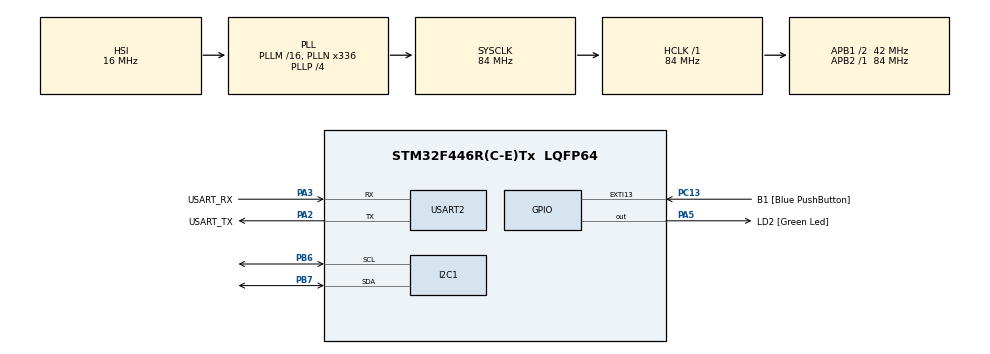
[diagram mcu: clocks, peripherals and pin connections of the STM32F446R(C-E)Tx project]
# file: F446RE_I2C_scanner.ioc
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Mcu.Family=STM32F4
Mcu.Name=STM32F446R(C-E)Tx
Mcu.Package=LQFP64
NVIC.PriorityGroup=NVIC_PRIORITYGROUP_0
PA13.GPIO_Label=TMS
PA13.Mode=Serial_Wire
PA13.Signal=SYS_JTMS-SWDIO
PA14.GPIO_Label=TCK
PA14.Mode=Serial_Wire
PA14.Signal=SYS_JTCK-SWCLK
PA2.GPIO_Label=USART_TX
PA2.Mode=Asynchronous
PA2.Signal=USART2_TX
PA3.GPIO_Label=USART_RX
PA3.Mode=Asynchronous
PA3.Signal=USART2_RX
PA5.GPIO_Label=LD2 [Green Led]
PA5.Signal=GPIO_Output
PB3.GPIO_Label=SWO
PB3.Signal=SYS_JTDO-SWO
PB6.Mode=I2C
PB6.Signal=I2C1_SCL
PB7.Mode=I2C
PB7.Signal=I2C1_SDA
PC13.GPIO_Label=B1 [Blue PushButton]
PC13.GPIO_ModeDefaultEXTI=GPIO_MODE_IT_FALLING
PC13.Signal=GPXTI13
PC14-OSC32_IN.Mode=LSE-External-Oscillator
PC14-OSC32_IN.Signal=RCC_OSC32_IN
PC15-OSC32_OUT.Mode=LSE-External-Oscillator
PC15-OSC32_OUT.Signal=RCC_OSC32_OUT
PH0-OSC_IN.Mode=HSE-External-Oscillator
PH0-OSC_IN.Signal=RCC_OSC_IN
PH1-OSC_OUT.Mode=HSE-External-Oscillator
PH1-OSC_OUT.Signal=RCC_OSC_OUT
ProjectManager.HeapSize=0x200
ProjectManager.StackSize=0x400
ProjectManager.TargetToolchain=STM32CubeIDE
RCC.48MHZClocksFreq_Value=84000000
RCC.AHBFreq_Value=84000000
RCC.APB1CLKDivider=RCC_HCLK_DIV2
RCC.APB1Freq_Value=42000000
RCC.APB1TimFreq_Value=84000000
RCC.APB2Freq_Value=84000000
RCC.APB2TimFreq_Value=84000000
RCC.CortexFreq_Value=84000000
RCC.FLatency-AdvancedSettings=FLASH_LATENCY_2
RCC.HCLKFreq_Value=84000000
RCC.HSE_VALUE=8000000
RCC.HSI_VALUE=16000000
RCC.PLLN=336
RCC.PLLP=RCC_PLLP_DIV4
RCC.SYSCLKFreq_VALUE=84000000
RCC.SYSCLKSource=RCC_SYSCLKSOURCE_PLLCLK
RCC.USBFreq_Value=168000000
RCC.VCOOutputFreq_Value=336000000
USART2.VirtualMode=VM_ASYNC
board=NUCLEO-F446RE

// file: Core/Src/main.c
/* USER CODE BEGIN Header */
/**
 ******************************************************************************
 * @file           : main.c
 * @brief          : Main program body
 ******************************************************************************
 * @attention
 *
 * <h2><center>&copy; Copyright (c) 2021 STMicroelectronics.
 * All rights reserved.</center></h2>
 *
 * This software component is licensed by ST under BSD 3-Clause license,
 * the "License"; You may not use this file except in compliance with the
 * License. You may obtain a copy of the License at:
 *                        opensource.org/licenses/BSD-3-Clause
 *
 ******************************************************************************
 */
/* USER CODE END Header */
#include "main.h"

/* USER CODE BEGIN Includes */
#include <stdio.h>
#include <string.h>
#include "bmp280/bmp280.h"

/* USER CODE END Includes */

I2C_HandleTypeDef hi2c1;

UART_HandleTypeDef huart2;

/* USER CODE BEGIN PV */
BMP280_HandleTypedef bmp280;

float pressure, temperature, humidity;
bool bme280p;
bool bmp280_module_present;
uint16_t size;
uint8_t Data[256];

char crlf[3];

/* USER CODE END PV */

void SystemClock_Config(void);
static void MX_GPIO_Init(void);
static void MX_USART2_UART_Init(void);
static void MX_I2C1_Init(void);
/* USER CODE BEGIN PFP */

static void I2C_Scanner(void);
static void BMP280_Init(void);
static void BMP280_Read_and_Print(void);

/* USER CODE END PFP */

int main(void)
{

	/* MCU Configuration--------------------------------------------------------*/

	/* Reset of all peripherals, Initializes the Flash interface and the Systick. */
	HAL_Init();

	/* Configure the system clock */
	SystemClock_Config();

	/* Initialize all configured peripherals */
	MX_GPIO_Init();
	MX_USART2_UART_Init();
	MX_I2C1_Init();

	/* Infinite loop */
	/* USER CODE BEGIN WHILE */
	char Message_buf[14];
	sprintf(Message_buf, ">Scan started");
	sprintf(crlf, "\r\n");
	HAL_UART_Transmit(&huart2, (uint8_t*)crlf, sizeof(crlf), HAL_MAX_DELAY);
	HAL_UART_Transmit(&huart2, (uint8_t*)crlf, sizeof(crlf), HAL_MAX_DELAY);
	HAL_UART_Transmit(&huart2, (uint8_t*)Message_buf, sizeof(Message_buf), HAL_MAX_DELAY);
	HAL_UART_Transmit(&huart2, (uint8_t*)crlf, sizeof(crlf), HAL_MAX_DELAY);

	bmp280_module_present = false;
	I2C_Scanner();

	if (bmp280_module_present)
	{
		BMP280_Init();
	}

	while (1)
	{

		/* USER CODE END WHILE */

		/* USER CODE BEGIN 3 */
		if (bmp280_module_present)
		{
			BMP280_Read_and_Print();
		}
	}
	/* USER CODE END 3 */
}

void SystemClock_Config(void)
{
	RCC_OscInitTypeDef RCC_OscInitStruct = {0};
	RCC_ClkInitTypeDef RCC_ClkInitStruct = {0};

	/** Configure the main internal regulator output voltage
	 */
	__HAL_RCC_PWR_CLK_ENABLE();
	__HAL_PWR_VOLTAGESCALING_CONFIG(PWR_REGULATOR_VOLTAGE_SCALE3);
	/** Initializes the RCC Oscillators according to the specified parameters
	 * in the RCC_OscInitTypeDef structure.
	 */
	RCC_OscInitStruct.OscillatorType = RCC_OSCILLATORTYPE_HSI;
	RCC_OscInitStruct.HSIState = RCC_HSI_ON;
	RCC_OscInitStruct.HSICalibrationValue = RCC_HSICALIBRATION_DEFAULT;
	RCC_OscInitStruct.PLL.PLLState = RCC_PLL_ON;
	RCC_OscInitStruct.PLL.PLLSource = RCC_PLLSOURCE_HSI;
	RCC_OscInitStruct.PLL.PLLM = 16;
	RCC_OscInitStruct.PLL.PLLN = 336;
	RCC_OscInitStruct.PLL.PLLP = RCC_PLLP_DIV4;
	RCC_OscInitStruct.PLL.PLLQ = 2;
	RCC_OscInitStruct.PLL.PLLR = 2;
	if (HAL_RCC_OscConfig(&RCC_OscInitStruct) != HAL_OK)
	{
		Error_Handler();
	}
	/** Initializes the CPU, AHB and APB buses clocks
	 */
	RCC_ClkInitStruct.ClockType = RCC_CLOCKTYPE_HCLK|RCC_CLOCKTYPE_SYSCLK
			|RCC_CLOCKTYPE_PCLK1|RCC_CLOCKTYPE_PCLK2;
	RCC_ClkInitStruct.SYSCLKSource = RCC_SYSCLKSOURCE_PLLCLK;
	RCC_ClkInitStruct.AHBCLKDivider = RCC_SYSCLK_DIV1;
	RCC_ClkInitStruct.APB1CLKDivider = RCC_HCLK_DIV2;
	RCC_ClkInitStruct.APB2CLKDivider = RCC_HCLK_DIV1;

	if (HAL_RCC_ClockConfig(&RCC_ClkInitStruct, FLASH_LATENCY_2) != HAL_OK)
	{
		Error_Handler();
	}
}

static void MX_I2C1_Init(void)
{

	hi2c1.Instance = I2C1;
	hi2c1.Init.ClockSpeed = 100000;
	hi2c1.Init.DutyCycle = I2C_DUTYCYCLE_2;
	hi2c1.Init.OwnAddress1 = 0;
	hi2c1.Init.AddressingMode = I2C_ADDRESSINGMODE_7BIT;
	hi2c1.Init.DualAddressMode = I2C_DUALADDRESS_DISABLE;
	hi2c1.Init.OwnAddress2 = 0;
	hi2c1.Init.GeneralCallMode = I2C_GENERALCALL_DISABLE;
	hi2c1.Init.NoStretchMode = I2C_NOSTRETCH_DISABLE;
	if (HAL_I2C_Init(&hi2c1) != HAL_OK)
	{
		Error_Handler();
	}

}

static void MX_USART2_UART_Init(void)
{

	huart2.Instance = USART2;
	huart2.Init.BaudRate = 115200;
	huart2.Init.WordLength = UART_WORDLENGTH_8B;
	huart2.Init.StopBits = UART_STOPBITS_1;
	huart2.Init.Parity = UART_PARITY_NONE;
	huart2.Init.Mode = UART_MODE_TX_RX;
	huart2.Init.HwFlowCtl = UART_HWCONTROL_NONE;
	huart2.Init.OverSampling = UART_OVERSAMPLING_16;
	if (HAL_UART_Init(&huart2) != HAL_OK)
	{
		Error_Handler();
	}

}

static void MX_GPIO_Init(void)
{
	GPIO_InitTypeDef GPIO_InitStruct = {0};

	/* GPIO Ports Clock Enable */
	__HAL_RCC_GPIOC_CLK_ENABLE();
	__HAL_RCC_GPIOH_CLK_ENABLE();
	__HAL_RCC_GPIOA_CLK_ENABLE();
	__HAL_RCC_GPIOB_CLK_ENABLE();

	/*Configure GPIO pin Output Level */
	HAL_GPIO_WritePin(LD2_GPIO_Port, LD2_Pin, GPIO_PIN_RESET);

	/*Configure GPIO pin : B1_Pin */
	GPIO_InitStruct.Pin = B1_Pin;
	GPIO_InitStruct.Mode = GPIO_MODE_IT_FALLING;
	GPIO_InitStruct.Pull = GPIO_NOPULL;
	HAL_GPIO_Init(B1_GPIO_Port, &GPIO_InitStruct);

	/*Configure GPIO pin : LD2_Pin */
	GPIO_InitStruct.Pin = LD2_Pin;
	GPIO_InitStruct.Mode = GPIO_MODE_OUTPUT_PP;
	GPIO_InitStruct.Pull = GPIO_NOPULL;
	GPIO_InitStruct.Speed = GPIO_SPEED_FREQ_LOW;
	HAL_GPIO_Init(LD2_GPIO_Port, &GPIO_InitStruct);

}

/* USER CODE BEGIN 4 */

static void I2C_Scanner(void)
{
	HAL_StatusTypeDef result;
	uint8_t i,x;
	//char* period = ".";
	//char* dash = "-";
	char OutputArray[7];
	for (i = 1; i < 128; i++)
	{
		result = HAL_I2C_IsDeviceReady(&hi2c1, (uint16_t)(i << 1), 1, HAL_MAX_DELAY);
		sprintf(OutputArray, "0x%02x :", i);
		HAL_UART_Transmit(&huart2, (uint8_t*)OutputArray, sizeof(OutputArray), HAL_MAX_DELAY);

		if (result != HAL_OK) // HAL_ERROR or HAL_BUSY or HAL_TIMEOUT
		{
			sprintf(OutputArray, " .    ");
			HAL_UART_Transmit(&huart2, (uint8_t*)OutputArray, sizeof(OutputArray), HAL_MAX_DELAY);
		}

		if (result == HAL_OK)
		{
			if (i == BMP280_I2C_ADDRESS_0)
			{
				bmp280_module_present = true;
			}
			sprintf(OutputArray, " ACK! "); // Received an ACK at that address
			HAL_UART_Transmit(&huart2, (uint8_t*)OutputArray, sizeof(OutputArray), HAL_MAX_DELAY);
		}
		x = i - 1;
		x = x & 7U;
		if (x == 7)
		{
			HAL_UART_Transmit(&huart2, (uint8_t*)crlf, sizeof(crlf), HAL_MAX_DELAY);
		}

		HAL_Delay(5);
	}
	HAL_UART_Transmit(&huart2, (uint8_t*)crlf, sizeof(crlf), HAL_MAX_DELAY);
	sprintf(OutputArray, ">Done."); // Received an ACK at that address
	HAL_UART_Transmit(&huart2, (uint8_t*)OutputArray, sizeof(OutputArray), HAL_MAX_DELAY);
	HAL_UART_Transmit(&huart2, (uint8_t*)crlf, sizeof(crlf), HAL_MAX_DELAY);
}

static void BMP280_Init(void)
{
	bmp280_init_default_params(&bmp280.params);
	bmp280.addr = BMP280_I2C_ADDRESS_0;
	bmp280.i2c = &hi2c1;
	HAL_UART_Transmit(&huart2, (uint8_t*)crlf, sizeof(crlf), HAL_MAX_DELAY);

	while (!bmp280_init(&bmp280, &bmp280.params)) {
		size = sprintf((char *)Data, "BMP280 initialization failed");
		HAL_UART_Transmit(&huart2, Data, size, 1000);
		HAL_UART_Transmit(&huart2, (uint8_t*)crlf, sizeof(crlf), HAL_MAX_DELAY);
		HAL_Delay(2000);
	}
	bme280p = bmp280.id == BME280_CHIP_ID;
	size = sprintf((char *)Data, "BMP280: found %s", bme280p ? "BME280" : "BMP280");
	HAL_UART_Transmit(&huart2, Data, size, 1000);
	HAL_UART_Transmit(&huart2, (uint8_t*)crlf, sizeof(crlf), HAL_MAX_DELAY);
}

static void BMP280_Read_and_Print(void)
{
	HAL_Delay(100);
	while (!bmp280_read_float(&bmp280, &temperature, &pressure, &humidity))
	{
		size = sprintf((char *)Data,"Temperature/pressure reading failed");
		HAL_UART_Transmit(&huart2, Data, size, 1000);
		HAL_UART_Transmit(&huart2, (uint8_t*)crlf, sizeof(crlf), HAL_MAX_DELAY);
		HAL_Delay(2000);
	}
	size = sprintf((char *)Data,"Pressure: %.2f Pa, Temperature: %.2f C",pressure, temperature);
	HAL_UART_Transmit(&huart2, Data, size, 1000);
	if (bme280p) {
		size = sprintf((char *)Data,", Humidity: %.2f", humidity);
		HAL_UART_Transmit(&huart2, Data, size, 1000);
	}
	else
	{
		size = sprintf((char *)Data, "\n");
		HAL_UART_Transmit(&huart2, Data, size, 1000);
	}
	HAL_UART_Transmit(&huart2, (uint8_t*)crlf, sizeof(crlf), HAL_MAX_DELAY);
	HAL_Delay(2400);
}

/* USER CODE END 4 */

void Error_Handler(void)
{
	__disable_irq();
	while (1)
	{
	}
}

/************************ (C) COPYRIGHT STMicroelectronics *****END OF FILE****/
